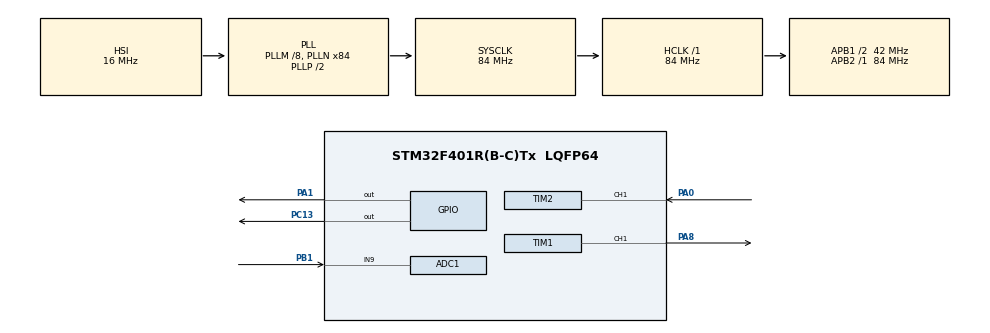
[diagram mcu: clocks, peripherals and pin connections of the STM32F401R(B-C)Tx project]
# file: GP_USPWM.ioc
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ADC1.Channel-6\#ChannelRegularConversion=ADC_CHANNEL_9
ADC1.NbrOfConversionFlag=1
ADC1.Rank-6\#ChannelRegularConversion=1
ADC1.SamplingTime-6\#ChannelRegularConversion=ADC_SAMPLETIME_3CYCLES
ADC1.master=1
Mcu.Family=STM32F4
Mcu.Name=STM32F401R(B-C)Tx
Mcu.Package=LQFP64
NVIC.ADC_IRQn=true\:0\:0\:false\:false\:true\:true\:true\:true
NVIC.PriorityGroup=NVIC_PRIORITYGROUP_4
NVIC.TIM2_IRQn=true\:0\:0\:false\:false\:true\:true\:true\:true
PA0-WKUP.Signal=S_TIM2_CH1_ETR
PA1.Signal=GPIO_Output
PA8.Signal=S_TIM1_CH1
PB1.Signal=ADCx_IN9
PC13-ANTI_TAMP.Signal=GPIO_Output
ProjectManager.HeapSize=0x200
ProjectManager.StackSize=0x400
ProjectManager.TargetToolchain=STM32CubeIDE
RCC.48MHZClocksFreq_Value=42000000
RCC.AHBFreq_Value=84000000
RCC.APB1CLKDivider=RCC_HCLK_DIV2
RCC.APB1Freq_Value=42000000
RCC.APB1TimFreq_Value=84000000
RCC.APB2Freq_Value=84000000
RCC.APB2TimFreq_Value=84000000
RCC.CortexFreq_Value=84000000
RCC.HCLKFreq_Value=84000000
RCC.HSE_VALUE=25000000
RCC.HSI_VALUE=16000000
RCC.LSE_VALUE=32768
RCC.PLLM=8
RCC.PLLN=84
RCC.SYSCLKFreq_VALUE=84000000
RCC.SYSCLKSource=RCC_SYSCLKSOURCE_PLLCLK
RCC.VCOOutputFreq_Value=168000000
SH.ADCx_IN9.0=ADC1_IN9,IN9
SH.S_TIM1_CH1.0=TIM1_CH1,PWM Generation1 CH1
SH.S_TIM2_CH1_ETR.0=TIM2_CH1,Input_Capture1_from_TI1
TIM1.Channel-PWM\ Generation1\ CH1=TIM_CHANNEL_1
TIM1.Period=100
TIM1.Prescaler=83
TIM2.Channel-Input_Capture1_from_TI1=TIM_CHANNEL_1
TIM2.Prescaler=83
board=custom

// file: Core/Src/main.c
/* USER CODE BEGIN Header */
/**
  ******************************************************************************
  * @file           : main.c
  * @brief          : Main program body
  ******************************************************************************
  * @attention
  *
  * Copyright (c) 2024 STMicroelectronics.
  * All rights reserved.
  *
  * This software is licensed under terms that can be found in the LICENSE file
  * in the root directory of this software component.
  * If no LICENSE file comes with this software, it is provided AS-IS.
  *
  ******************************************************************************
  */
/* USER CODE END Header */
#include "main.h"

/* USER CODE BEGIN Includes */
#include "ultrasonic.h"
/* USER CODE END Includes */

ADC_HandleTypeDef hadc1;

TIM_HandleTypeDef htim1;
TIM_HandleTypeDef htim2;

/* USER CODE BEGIN PV */
uint16_t distance;
uint8_t isReadingFinished = 0, adcComplete = 0;

uint32_t ADC_Value, pwmVlaue;
/* USER CODE END PV */

void SystemClock_Config(void);
static void MX_GPIO_Init(void);
static void MX_TIM2_Init(void);
static void MX_TIM1_Init(void);
static void MX_ADC1_Init(void);
/* USER CODE BEGIN PFP */
void adjust_PWM_dutyCycle(TIM_HandleTypeDef* pwmHandle, uint32_t pwmChannel, float dutyCycle)
{

    // Calculate the new pulse width based on the duty cycle percentage
    uint32_t maxCCR = pwmHandle->Instance->ARR;
    uint32_t newCCR = (uint32_t)((dutyCycle / 100.0f) * maxCCR);

    // Update the CCR value for the specified channel
    __HAL_TIM_SET_COMPARE(pwmHandle, pwmChannel, newCCR);
}
/* USER CODE END PFP */

/* USER CODE BEGIN 0 */
void HAL_ADC_ConvCpltCallback(ADC_HandleTypeDef *hadc)
{
  ADC_Value = HAL_ADC_GetValue(&hadc1);       /* Get ADC Value */
  pwmVlaue = (ADC_Value * 100.0/4095);   /* Map ADV value from 0 to 100 */
  adcComplete = 1;
}
/* USER CODE END 0 */

int main(void)
{

  /* MCU Configuration--------------------------------------------------------*/

  /* Reset of all peripherals, Initializes the Flash interface and the Systick. */
  HAL_Init();

  /* Configure the system clock */
  SystemClock_Config();

  /* Initialize all configured peripherals */
  MX_GPIO_Init();
  MX_TIM2_Init();
  MX_TIM1_Init();
  MX_ADC1_Init();
  /* USER CODE BEGIN 2 */
  HAL_ADC_Start_IT(&hadc1);
  adjust_PWM_dutyCycle(&htim1, TIM_CHANNEL_1, 50);
  HAL_TIM_PWM_Start(&htim1, TIM_CHANNEL_1);
  HAL_TIM_IC_Start_IT(&htim2, TIM_CHANNEL_1);
  Ultrasonic_Get_Distance();
  HAL_Delay(20);
  /* USER CODE END 2 */

  /* Infinite loop */
  /* USER CODE BEGIN WHILE */
  while (1)
  {
	  if(isReadingFinished){
		  isReadingFinished = 0;
		  if(distance < 10 && distance > 0)
			HAL_GPIO_WritePin(GPIOC, GPIO_PIN_13, GPIO_PIN_RESET);
		  else
			HAL_GPIO_WritePin(GPIOC, GPIO_PIN_13, GPIO_PIN_SET);
		  HAL_Delay(20);
		  Ultrasonic_Get_Distance();
	  }
	  if(adcComplete){
		  adcComplete = 0;
		  adjust_PWM_dutyCycle(&htim1, TIM_CHANNEL_1, pwmVlaue);
		  HAL_ADC_Start_IT(&hadc1);
	  }
    /* USER CODE END WHILE */

  }
}

void SystemClock_Config(void)
{
  RCC_OscInitTypeDef RCC_OscInitStruct = {0};
  RCC_ClkInitTypeDef RCC_ClkInitStruct = {0};

  /** Configure the main internal regulator output voltage
  */
  __HAL_RCC_PWR_CLK_ENABLE();
  __HAL_PWR_VOLTAGESCALING_CONFIG(PWR_REGULATOR_VOLTAGE_SCALE2);

  /** Initializes the RCC Oscillators according to the specified parameters
  * in the RCC_OscInitTypeDef structure.
  */
  RCC_OscInitStruct.OscillatorType = RCC_OSCILLATORTYPE_HSI;
  RCC_OscInitStruct.HSIState = RCC_HSI_ON;
  RCC_OscInitStruct.HSICalibrationValue = RCC_HSICALIBRATION_DEFAULT;
  RCC_OscInitStruct.PLL.PLLState = RCC_PLL_ON;
  RCC_OscInitStruct.PLL.PLLSource = RCC_PLLSOURCE_HSI;
  RCC_OscInitStruct.PLL.PLLM = 8;
  RCC_OscInitStruct.PLL.PLLN = 84;
  RCC_OscInitStruct.PLL.PLLP = RCC_PLLP_DIV2;
  RCC_OscInitStruct.PLL.PLLQ = 4;
  if (HAL_RCC_OscConfig(&RCC_OscInitStruct) != HAL_OK)
  {
    Error_Handler();
  }

  /** Initializes the CPU, AHB and APB buses clocks
  */
  RCC_ClkInitStruct.ClockType = RCC_CLOCKTYPE_HCLK|RCC_CLOCKTYPE_SYSCLK
                              |RCC_CLOCKTYPE_PCLK1|RCC_CLOCKTYPE_PCLK2;
  RCC_ClkInitStruct.SYSCLKSource = RCC_SYSCLKSOURCE_PLLCLK;
  RCC_ClkInitStruct.AHBCLKDivider = RCC_SYSCLK_DIV1;
  RCC_ClkInitStruct.APB1CLKDivider = RCC_HCLK_DIV2;
  RCC_ClkInitStruct.APB2CLKDivider = RCC_HCLK_DIV1;

  if (HAL_RCC_ClockConfig(&RCC_ClkInitStruct, FLASH_LATENCY_2) != HAL_OK)
  {
    Error_Handler();
  }
}

static void MX_ADC1_Init(void)
{

  ADC_ChannelConfTypeDef sConfig = {0};

  /** Configure the global features of the ADC (Clock, Resolution, Data Alignment and number of conversion)
  */
  hadc1.Instance = ADC1;
  hadc1.Init.ClockPrescaler = ADC_CLOCK_SYNC_PCLK_DIV4;
  hadc1.Init.Resolution = ADC_RESOLUTION_12B;
  hadc1.Init.ScanConvMode = DISABLE;
  hadc1.Init.ContinuousConvMode = DISABLE;
  hadc1.Init.DiscontinuousConvMode = DISABLE;
  hadc1.Init.ExternalTrigConvEdge = ADC_EXTERNALTRIGCONVEDGE_NONE;
  hadc1.Init.ExternalTrigConv = ADC_SOFTWARE_START;
  hadc1.Init.DataAlign = ADC_DATAALIGN_RIGHT;
  hadc1.Init.NbrOfConversion = 1;
  hadc1.Init.DMAContinuousRequests = DISABLE;
  hadc1.Init.EOCSelection = ADC_EOC_SINGLE_CONV;
  if (HAL_ADC_Init(&hadc1) != HAL_OK)
  {
    Error_Handler();
  }

  /** Configure for the selected ADC regular channel its corresponding rank in the sequencer and its sample time.
  */
  sConfig.Channel = ADC_CHANNEL_9;
  sConfig.Rank = 1;
  sConfig.SamplingTime = ADC_SAMPLETIME_3CYCLES;
  if (HAL_ADC_ConfigChannel(&hadc1, &sConfig) != HAL_OK)
  {
    Error_Handler();
  }

}

static void MX_TIM1_Init(void)
{

  TIM_MasterConfigTypeDef sMasterConfig = {0};
  TIM_OC_InitTypeDef sConfigOC = {0};
  TIM_BreakDeadTimeConfigTypeDef sBreakDeadTimeConfig = {0};

  htim1.Instance = TIM1;
  htim1.Init.Prescaler = 83;
  htim1.Init.CounterMode = TIM_COUNTERMODE_UP;
  htim1.Init.Period = 100;
  htim1.Init.ClockDivision = TIM_CLOCKDIVISION_DIV1;
  htim1.Init.RepetitionCounter = 0;
  htim1.Init.AutoReloadPreload = TIM_AUTORELOAD_PRELOAD_DISABLE;
  if (HAL_TIM_PWM_Init(&htim1) != HAL_OK)
  {
    Error_Handler();
  }
  sMasterConfig.MasterOutputTrigger = TIM_TRGO_RESET;
  sMasterConfig.MasterSlaveMode = TIM_MASTERSLAVEMODE_DISABLE;
  if (HAL_TIMEx_MasterConfigSynchronization(&htim1, &sMasterConfig) != HAL_OK)
  {
    Error_Handler();
  }
  sConfigOC.OCMode = TIM_OCMODE_PWM1;
  sConfigOC.Pulse = 0;
  sConfigOC.OCPolarity = TIM_OCPOLARITY_HIGH;
  sConfigOC.OCNPolarity = TIM_OCNPOLARITY_HIGH;
  sConfigOC.OCFastMode = TIM_OCFAST_DISABLE;
  sConfigOC.OCIdleState = TIM_OCIDLESTATE_RESET;
  sConfigOC.OCNIdleState = TIM_OCNIDLESTATE_RESET;
  if (HAL_TIM_PWM_ConfigChannel(&htim1, &sConfigOC, TIM_CHANNEL_1) != HAL_OK)
  {
    Error_Handler();
  }
  sBreakDeadTimeConfig.OffStateRunMode = TIM_OSSR_DISABLE;
  sBreakDeadTimeConfig.OffStateIDLEMode = TIM_OSSI_DISABLE;
  sBreakDeadTimeConfig.LockLevel = TIM_LOCKLEVEL_OFF;
  sBreakDeadTimeConfig.DeadTime = 0;
  sBreakDeadTimeConfig.BreakState = TIM_BREAK_DISABLE;
  sBreakDeadTimeConfig.BreakPolarity = TIM_BREAKPOLARITY_HIGH;
  sBreakDeadTimeConfig.AutomaticOutput = TIM_AUTOMATICOUTPUT_DISABLE;
  if (HAL_TIMEx_ConfigBreakDeadTime(&htim1, &sBreakDeadTimeConfig) != HAL_OK)
  {
    Error_Handler();
  }
  HAL_TIM_MspPostInit(&htim1);

}

static void MX_TIM2_Init(void)
{

  TIM_MasterConfigTypeDef sMasterConfig = {0};
  TIM_IC_InitTypeDef sConfigIC = {0};

  htim2.Instance = TIM2;
  htim2.Init.Prescaler = 83;
  htim2.Init.CounterMode = TIM_COUNTERMODE_UP;
  htim2.Init.Period = 4294967295;
  htim2.Init.ClockDivision = TIM_CLOCKDIVISION_DIV1;
  htim2.Init.AutoReloadPreload = TIM_AUTORELOAD_PRELOAD_DISABLE;
  if (HAL_TIM_IC_Init(&htim2) != HAL_OK)
  {
    Error_Handler();
  }
  sMasterConfig.MasterOutputTrigger = TIM_TRGO_RESET;
  sMasterConfig.MasterSlaveMode = TIM_MASTERSLAVEMODE_DISABLE;
  if (HAL_TIMEx_MasterConfigSynchronization(&htim2, &sMasterConfig) != HAL_OK)
  {
    Error_Handler();
  }
  sConfigIC.ICPolarity = TIM_INPUTCHANNELPOLARITY_RISING;
  sConfigIC.ICSelection = TIM_ICSELECTION_DIRECTTI;
  sConfigIC.ICPrescaler = TIM_ICPSC_DIV1;
  sConfigIC.ICFilter = 0;
  if (HAL_TIM_IC_ConfigChannel(&htim2, &sConfigIC, TIM_CHANNEL_1) != HAL_OK)
  {
    Error_Handler();
  }

}

static void MX_GPIO_Init(void)
{
  GPIO_InitTypeDef GPIO_InitStruct = {0};

  /* GPIO Ports Clock Enable */
  __HAL_RCC_GPIOC_CLK_ENABLE();
  __HAL_RCC_GPIOA_CLK_ENABLE();
  __HAL_RCC_GPIOB_CLK_ENABLE();

  /*Configure GPIO pin Output Level */
  HAL_GPIO_WritePin(GPIOC, GPIO_PIN_13, GPIO_PIN_RESET);

  /*Configure GPIO pin Output Level */
  HAL_GPIO_WritePin(GPIOA, GPIO_PIN_1, GPIO_PIN_RESET);

  /*Configure GPIO pin : PC13 */
  GPIO_InitStruct.Pin = GPIO_PIN_13;
  GPIO_InitStruct.Mode = GPIO_MODE_OUTPUT_PP;
  GPIO_InitStruct.Pull = GPIO_NOPULL;
  GPIO_InitStruct.Speed = GPIO_SPEED_FREQ_LOW;
  HAL_GPIO_Init(GPIOC, &GPIO_InitStruct);

  /*Configure GPIO pin : PA1 */
  GPIO_InitStruct.Pin = GPIO_PIN_1;
  GPIO_InitStruct.Mode = GPIO_MODE_OUTPUT_PP;
  GPIO_InitStruct.Pull = GPIO_NOPULL;
  GPIO_InitStruct.Speed = GPIO_SPEED_FREQ_LOW;
  HAL_GPIO_Init(GPIOA, &GPIO_InitStruct);

}

void Error_Handler(void)
{
  __disable_irq();
  while (1)
  {
  }
}
